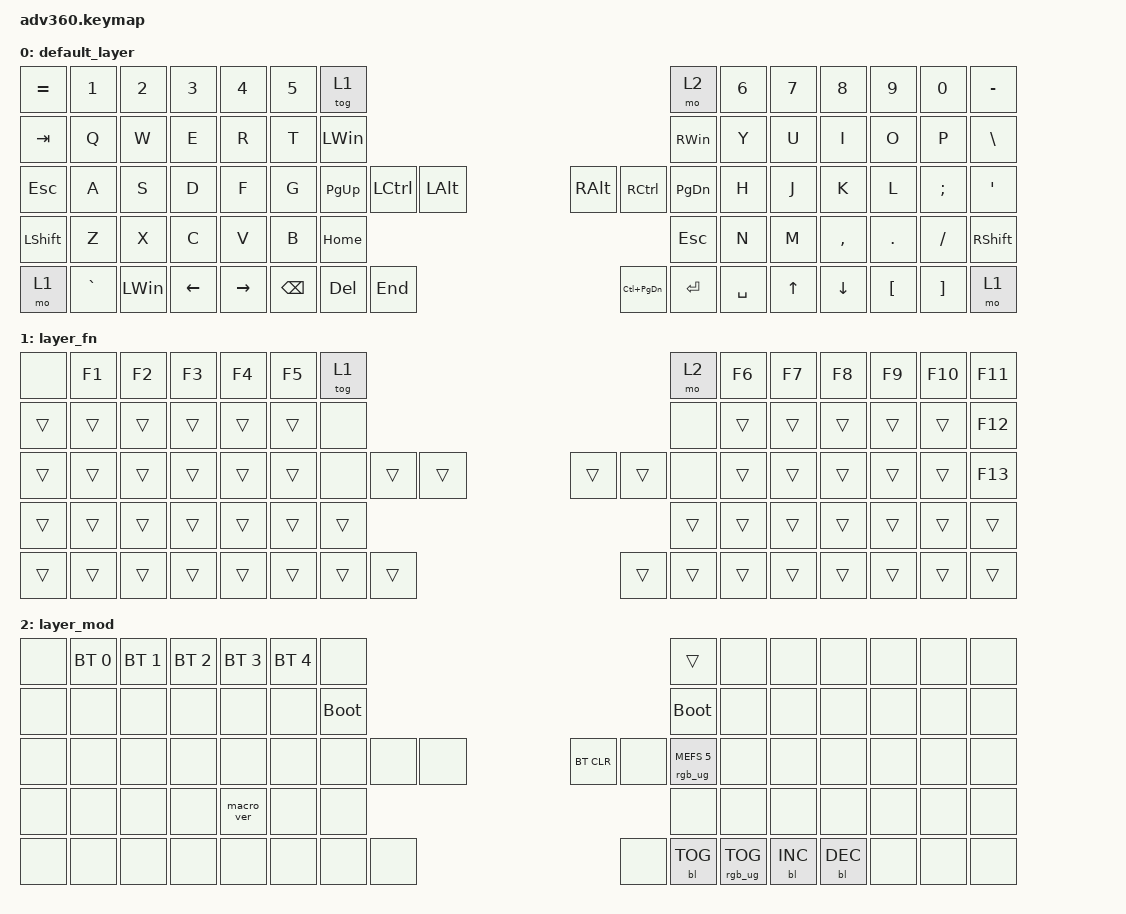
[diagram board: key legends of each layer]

/*
 * Copyright (c) 2020 The ZMK Contributors
 *
 * SPDX-License-Identifier: MIT
 */


/* THIS FILE WAS GENERATED!
 *
 * This file was generated automatically. You may or may not want to
 * edit it directly.
 */

#include <behaviors.dtsi>
#include <dt-bindings/zmk/keys.h>
#include <dt-bindings/zmk/bt.h>
#include <dt-bindings/zmk/rgb.h>
#include <dt-bindings/zmk/backlight.h>

/ {
  behaviors {
    #include "macros.dtsi"
    #include "version.dtsi"

    hm: homerow_mods {
        compatible = "zmk,behavior-hold-tap";
        label = "HOMEROW_MODS";
        #binding-cells = <2>;
        tapping-term-ms = <200>;
        quick_tap_ms = <175>;
        flavor = "tap-preferred";
        bindings = <&kp>, <&kp>;
    };
  };

    keymap {
        compatible = "zmk,keymap";


        default_layer {
            bindings = <
 &kp EQUAL     &kp N1        &kp N2    &kp N3     &kp N4  &kp N5                  &tog 1                                                                         &mo 2  &kp N6  &kp N7     &kp N8    &kp N9    &kp N0  &kp MINUS
   &kp TAB      &kp Q         &kp W     &kp E      &kp R   &kp T            &kp LEFT_WIN                                                                 &kp RIGHT_WIN   &kp Y   &kp U      &kp I     &kp O     &kp P   &kp BSLH
   &kp ESC      &kp A         &kp S     &kp D      &kp F   &kp G               &kp PG_UP  &kp LCTRL  &kp LALT                  &kp RIGHT_ALT  &kp RCTRL      &kp PG_DN   &kp H   &kp J      &kp K     &kp L  &kp SEMI    &kp SQT
 &kp LSHFT      &kp Z         &kp X     &kp C      &kp V   &kp B                                     &kp HOME                        &kp ESC                             &kp N   &kp M  &kp COMMA   &kp DOT  &kp FSLH  &kp RSHFT
     &mo 1  &kp GRAVE  &kp LEFT_WIN  &kp LEFT  &kp RIGHT                        &kp BSPC    &kp DEL   &kp END                  &kp LC(PG_DN)  &kp ENTER      &kp SPACE          &kp UP   &kp DOWN  &kp LBKT  &kp RBKT      &mo 1
            >;
        };

        layer_fn {
            bindings = <
  &none  &kp F1  &kp F2  &kp F3  &kp F4  &kp F5            &tog 1                                                   &mo 2  &kp F6  &kp F7  &kp F8  &kp F9  &kp F10  &kp F11
 &trans  &trans  &trans  &trans  &trans  &trans             &none                                                   &none  &trans  &trans  &trans  &trans   &trans  &kp F12
 &trans  &trans  &trans  &trans  &trans  &trans             &none  &trans  &trans                  &trans  &trans   &none  &trans  &trans  &trans  &trans   &trans  &kp F13
 &trans  &trans  &trans  &trans  &trans  &trans                            &trans                  &trans                  &trans  &trans  &trans  &trans   &trans   &trans
 &trans  &trans  &trans  &trans  &trans                    &trans  &trans  &trans                  &trans  &trans  &trans          &trans  &trans  &trans   &trans   &trans
            >;
        };

        layer_mod {
            bindings = <
  &none  &bt BT_SEL 0  &bt BT_SEL 1  &bt BT_SEL 2  &bt BT_SEL 3  &bt BT_SEL 4                  &none                                                                          &trans   &none       &none       &none   &none   &none   &none
  &none         &none         &none         &none         &none         &none            &bootloader                                                                     &bootloader   &none       &none       &none   &none   &none   &none
  &none         &none         &none         &none         &none         &none                  &none   &none   &none                  &bt BT_CLR       &none  &rgb_ug RGB_MEFS_CMD 5   &none       &none       &none   &none   &none   &none
  &none         &none         &none         &none    &macro_ver         &none                                  &none                       &none                                       &none       &none       &none   &none   &none   &none
  &none         &none         &none         &none         &none                                &none   &none   &none                       &none  &bl BL_TOG         &rgb_ug RGB_TOG          &bl BL_INC  &bl BL_DEC   &none   &none   &none
            >;
        };

    };
};
